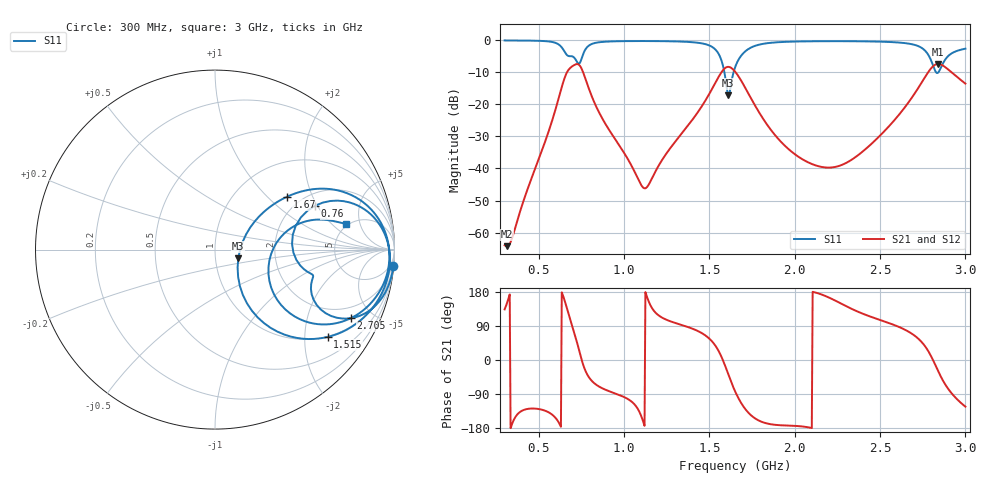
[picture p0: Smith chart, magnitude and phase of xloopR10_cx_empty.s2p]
! xloopR10_cx_empty, gap C 0.80 pF
! simulated by sim/fixtures_fdtd.py (S12 = S21, S22 not computed)
# HZ S RI R 50
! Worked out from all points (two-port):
!   541 points, 300 MHz to 3 GHz, reference 50 ohm
!   highest |S21| = -7.36 dB at 2.84 GHz (marker M1); lowest = -64.3 dB at 315 MHz (marker M2)
!   |S21| within 3 dB of the highest: 661.9 MHz to 762.8 MHz (100.9 MHz wide, 14.2 % of centre); 2.777 GHz to 2.928 GHz (151.2 MHz wide, 5.3 % of centre) (the widest 2 of 3)
!   lowest |S11| = -17.2 dB at 1.61 GHz (marker M3), VSWR 1.32, Z = 64.6 - j6.42 ohm
!   |S11| at or under -10 dB: 1.588 GHz to 1.641 GHz (53.4 MHz wide, 3.31 % of centre); 2.829052 GHz to 2.841078 GHz (12.03 MHz wide, 0.424 % of centre)
!   |S22| runs from - to - dB; largest |S21 - S12| = 0
!   S11 on the Smith chart (normalised r, x): 300 MHz: 0, -22; 760 MHz: 2.46, +1.91; 1.515 GHz: 0.98, -2.59; 1.67 GHz: 1.69, +1.32; 2.705 GHz: 1.37, -3.73; 3 GHz: 4.78, +3.05
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3e8  0.9941 -0.0917  -0.000437 0.000459  -0.000437 0.000459  0 0
3.15e8  0.9933 -0.0976  -0.000538 0.000292  -0.000538 0.000292  0 0
5.6e8  0.9199 -0.2826  -0.0295 -0.026  -0.0295 -0.026  0 0
6.6e8  0.5488 -0.2783  -0.2411 0.1718  -0.2411 0.1718  0 0
7.05e8  0.5305 -0.1322  0.0964 0.3965  0.0964 0.3965  0 0
7.5e8  0.4785 0.1795  0.3666 0.0171  0.3666 0.0171  0 0
7.6e8  0.5576 0.2444  0.3108 -0.0671  0.3108 -0.0671  0 0
8.45e8  0.9184 0.1371  0.0315 -0.0771  0.0315 -0.0771  0 0
1.105e9  0.973 -0.0939  -0.00472 -0.00237  -0.00472 -0.00237  0 0
1.2e9  0.9632 -0.151  -0.00515 0.00946  -0.00515 0.00946  0 0
1.515e9  0.628 -0.4865  0.1132 0.1315  0.1132 0.1315  0 0
1.61e9  0.1298 -0.0488  0.3087 -0.2325  0.3087 -0.2325  0 0
1.65e9  0.2978 0.2315  0.0448 -0.3238  0.0448 -0.3238  0 0
1.67e9  0.4005 0.2942  -0.051 -0.2712  -0.051 -0.2712  0 0
1.815e9  0.851 0.2427  -0.0574 -0.0159  -0.0574 -0.0159  0 0
2.1e9  0.9692 0.00881  -0.0118 -9.63e-05  -0.0118 -9.63e-05  0 0
2.295e9  0.9683 -0.088  -0.00962 0.00713  -0.00962 0.00713  0 0
2.55e9  0.9173 -0.2328  -0.0061 0.0446  -0.0061 0.0446  0 0
2.705e9  0.7573 -0.3818  0.0677 0.1353  0.0677 0.1353  0 0
2.78e9  0.4712 -0.3871  0.2831 0.1336  0.2831 0.1336  0 0
2.84e9  0.3125 -0.0246  0.3752 -0.2072  0.3752 -0.2072  0 0
3e9  0.7293 0.1431  -0.1155 -0.177  -0.1155 -0.177  0 0
